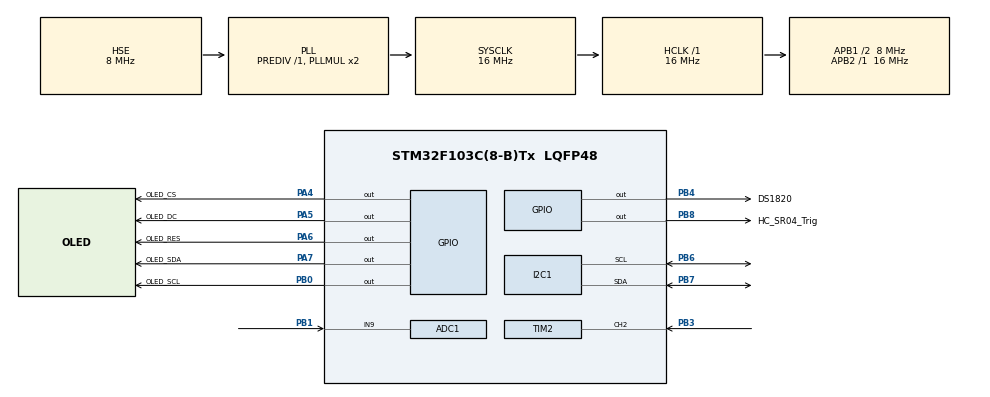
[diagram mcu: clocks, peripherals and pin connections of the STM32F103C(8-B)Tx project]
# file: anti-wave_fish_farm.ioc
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ADC1.Channel-0\#ChannelRegularConversion=ADC_CHANNEL_9
ADC1.NbrOfConversionFlag=1
ADC1.Rank-0\#ChannelRegularConversion=1
ADC1.SamplingTime-0\#ChannelRegularConversion=ADC_SAMPLETIME_1CYCLE_5
ADC1.master=1
Mcu.Family=STM32F1
Mcu.Name=STM32F103C(8-B)Tx
Mcu.Package=LQFP48
NVIC.PriorityGroup=NVIC_PRIORITYGROUP_4
NVIC.TIM2_IRQn=true\:0\:0\:false\:false\:true\:true\:true\:true
PA13.Mode=Serial_Wire
PA13.Signal=SYS_JTMS-SWDIO
PA14.Mode=Serial_Wire
PA14.Signal=SYS_JTCK-SWCLK
PA4.GPIO_Label=OLED_CS
PA4.GPIO_ModeDefaultOutputPP=GPIO_MODE_OUTPUT_PP
PA4.GPIO_PuPd=GPIO_PULLUP
PA4.GPIO_Speed=GPIO_SPEED_FREQ_HIGH
PA4.PinState=GPIO_PIN_SET
PA4.Signal=GPIO_Output
PA5.GPIO_Label=OLED_DC
PA5.GPIO_ModeDefaultOutputPP=GPIO_MODE_OUTPUT_PP
PA5.GPIO_PuPd=GPIO_PULLUP
PA5.GPIO_Speed=GPIO_SPEED_FREQ_HIGH
PA5.PinState=GPIO_PIN_SET
PA5.Signal=GPIO_Output
PA6.GPIO_Label=OLED_RES
PA6.GPIO_ModeDefaultOutputPP=GPIO_MODE_OUTPUT_PP
PA6.GPIO_PuPd=GPIO_PULLUP
PA6.GPIO_Speed=GPIO_SPEED_FREQ_HIGH
PA6.PinState=GPIO_PIN_SET
PA6.Signal=GPIO_Output
PA7.GPIO_Label=OLED_SDA
PA7.GPIO_ModeDefaultOutputPP=GPIO_MODE_OUTPUT_PP
PA7.GPIO_PuPd=GPIO_PULLUP
PA7.GPIO_Speed=GPIO_SPEED_FREQ_HIGH
PA7.PinState=GPIO_PIN_SET
PA7.Signal=GPIO_Output
PB0.GPIO_Label=OLED_SCL
PB0.GPIO_ModeDefaultOutputPP=GPIO_MODE_OUTPUT_PP
PB0.GPIO_PuPd=GPIO_PULLUP
PB0.GPIO_Speed=GPIO_SPEED_FREQ_HIGH
PB0.PinState=GPIO_PIN_SET
PB0.Signal=GPIO_Output
PB1.Signal=ADCx_IN9
PB3.Signal=S_TIM2_CH2
PB4.GPIO_Label=DS1820
PB4.GPIO_ModeDefaultOutputPP=GPIO_MODE_OUTPUT_PP
PB4.GPIO_PuPd=GPIO_PULLUP
PB4.GPIO_Speed=GPIO_SPEED_FREQ_HIGH
PB4.PinState=GPIO_PIN_SET
PB4.Signal=GPIO_Output
PB6.Mode=I2C
PB6.Signal=I2C1_SCL
PB7.Mode=I2C
PB7.Signal=I2C1_SDA
PB8.GPIO_Label=HC_SR04_Trig
PB8.GPIO_PuPd=GPIO_PULLUP
PB8.GPIO_Speed=GPIO_SPEED_FREQ_HIGH
PB8.Signal=GPIO_Output
PD0-OSC_IN.Mode=HSE-External-Oscillator
PD0-OSC_IN.Signal=RCC_OSC_IN
PD1-OSC_OUT.Mode=HSE-External-Oscillator
PD1-OSC_OUT.Signal=RCC_OSC_OUT
ProjectManager.HeapSize=0x200
ProjectManager.StackSize=0x400
ProjectManager.TargetToolchain=MDK-ARM V5.32
RCC.AHBFreq_Value=16000000
RCC.APB1CLKDivider=RCC_HCLK_DIV2
RCC.APB1Freq_Value=8000000
RCC.APB1TimFreq_Value=16000000
RCC.APB2Freq_Value=16000000
RCC.APB2TimFreq_Value=16000000
RCC.HCLKFreq_Value=16000000
RCC.PLLSourceVirtual=RCC_PLLSOURCE_HSE
RCC.SYSCLKFreq_VALUE=16000000
RCC.SYSCLKSource=RCC_SYSCLKSOURCE_PLLCLK
RCC.USBFreq_Value=16000000
SH.ADCx_IN9.0=ADC1_IN9,IN9
SH.S_TIM2_CH2.0=TIM2_CH2,Input_Capture2_from_TI2
TIM2.AutoReloadPreload=TIM_AUTORELOAD_PRELOAD_ENABLE
TIM2.Channel-Input_Capture2_from_TI2=TIM_CHANNEL_2
TIM2.Prescaler=71
board=custom

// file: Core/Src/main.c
/* USER CODE BEGIN Header */
/**
  ******************************************************************************
  * @file           : main.c
  * @brief          : Main program body
  ******************************************************************************
  * @attention
  *
  * Copyright (c) 2026 STMicroelectronics.
  * All rights reserved.
  *
  * This software is licensed under terms that can be found in the LICENSE file
  * in the root directory of this software component.
  * If no LICENSE file comes with this software, it is provided AS-IS.
  *
  ******************************************************************************
  */
/* USER CODE END Header */
#include "main.h"
#include "adc.h"
#include "i2c.h"
#include "tim.h"
#include "gpio.h"

/* USER CODE BEGIN Includes */
#include "oled.h"
#include "BH1750.h"
/* USER CODE END Includes */

void SystemClock_Config(void);

/* USER CODE BEGIN 0 */

// 微秒延时函数
void delay_us(uint32_t us)
{
    uint32_t delay = (HAL_RCC_GetHCLKFreq()/4000000*us);
    while(delay--);
}

// DS18B20相关函数
#define DS18B20_PIN DS1820_Pin
#define DS18B20_PORT DS1820_GPIO_Port

// 设置DS18B20引脚为输出
void DS18B20_SetOutput(void)
{
    GPIO_InitTypeDef GPIO_InitStruct = {0};
    GPIO_InitStruct.Pin = DS18B20_PIN;
    GPIO_InitStruct.Mode = GPIO_MODE_OUTPUT_PP;
    GPIO_InitStruct.Pull = GPIO_PULLUP;
    GPIO_InitStruct.Speed = GPIO_SPEED_FREQ_LOW;
    HAL_GPIO_Init(DS18B20_PORT, &GPIO_InitStruct);
}

// 设置DS18B20引脚为输入
void DS18B20_SetInput(void)
{
    GPIO_InitTypeDef GPIO_InitStruct = {0};
    GPIO_InitStruct.Pin = DS18B20_PIN;
    GPIO_InitStruct.Mode = GPIO_MODE_INPUT;
    GPIO_InitStruct.Pull = GPIO_PULLUP;
    HAL_GPIO_Init(DS18B20_PORT, &GPIO_InitStruct);
}

// 复位DS18B20
uint8_t DS18B20_Reset(void)
{
    uint8_t response = 0;

    DS18B20_SetOutput();
    HAL_GPIO_WritePin(DS18B20_PORT, DS18B20_PIN, GPIO_PIN_RESET);
    delay_us(750);
    HAL_GPIO_WritePin(DS18B20_PORT, DS18B20_PIN, GPIO_PIN_SET);
    delay_us(15);

    DS18B20_SetInput();
    response = HAL_GPIO_ReadPin(DS18B20_PORT, DS18B20_PIN);

    return response;
}

// 检查DS18B20是否存在
uint8_t DS18B20_Check(void)
{
    uint8_t pulse_time = 0;

    DS18B20_SetInput();

    // 等待DS18B20的低脉冲（60-240us）
    while (HAL_GPIO_ReadPin(DS18B20_PORT, DS18B20_PIN) && pulse_time < 100) {
        pulse_time++;
        delay_us(1);
    }

    if (pulse_time >= 100) {
        return 1; // 无响应
    }

    pulse_time = 0;

    // 等待低脉冲结束
    while (!HAL_GPIO_ReadPin(DS18B20_PORT, DS18B20_PIN) && pulse_time < 240) {
        pulse_time++;
        delay_us(1);
    }

    if (pulse_time >= 240) {
        return 1; // 无响应
    }

    return 0; // 正常
}

// 向DS18B20写1位
void DS18B20_WriteBit(uint8_t bit)
{
    DS18B20_SetOutput();

    if (bit) {
        // 写1
        HAL_GPIO_WritePin(DS18B20_PORT, DS18B20_PIN, GPIO_PIN_RESET);
        delay_us(9);
        HAL_GPIO_WritePin(DS18B20_PORT, DS18B20_PIN, GPIO_PIN_SET);
        delay_us(55);
    } else {
        // 写0
        HAL_GPIO_WritePin(DS18B20_PORT, DS18B20_PIN, GPIO_PIN_RESET);
        delay_us(70);
        HAL_GPIO_WritePin(DS18B20_PORT, DS18B20_PIN, GPIO_PIN_SET);
        delay_us(2);
    }
}

// 向DS18B20写1字节
void DS18B20_WriteByte(uint8_t byte)
{
    uint8_t i;
    for (i = 0; i < 8; i++) {
        DS18B20_WriteBit(byte & 0x01);
        byte >>= 1;
    }
}

// 从DS18B20读1位
uint8_t DS18B20_ReadBit(void)
{
    uint8_t bit = 0;

    DS18B20_SetOutput();
    HAL_GPIO_WritePin(DS18B20_PORT, DS18B20_PIN, GPIO_PIN_RESET);
    delay_us(10);

    DS18B20_SetInput();
    if (HAL_GPIO_ReadPin(DS18B20_PORT, DS18B20_PIN) == GPIO_PIN_SET) {
        bit = 1;
    } else {
        bit = 0;
    }

    delay_us(45);
    return bit;
}

// 从DS18B20读1字节
uint8_t DS18B20_ReadByte(void)
{
    uint8_t i, byte = 0;
    for (i = 0; i < 8; i++) {
        byte >>= 1;
        if (DS18B20_ReadBit()) {
            byte |= 0x80;
        }
    }
    return byte;
}

// 读取DS18B20温度
float DS18B20_ReadTemperature(void)
{
    uint8_t temp_l, temp_h;
    int16_t temp_raw;
    float temp = -999.9f;

    // 复位
    DS18B20_Reset();
    if (DS18B20_Check()) {
        return -999.9f; // 错误
    }

    // 跳过ROM
    DS18B20_WriteByte(0xCC);

    // 转换温度
    DS18B20_WriteByte(0x44);

    // 等待转换完成（最长800ms，12位分辨率）
    HAL_Delay(800); // 使用固定延时，更可靠

    // 复位
    DS18B20_Reset();
    if (DS18B20_Check()) {
        return -999.9f; // 错误
    }

    // 跳过ROM
    DS18B20_WriteByte(0xCC);

    // 读温度
    DS18B20_WriteByte(0xBE);

    // 读取温度低字节
    temp_l = DS18B20_ReadByte();

    // 读取温度高字节
    temp_h = DS18B20_ReadByte();

    // 组合温度数据
    temp_raw = (int16_t)((temp_h << 8) | temp_l);

    // 计算温度
    if (temp_raw < 0) {
        // 负温度
        temp = (float)(~temp_raw + 1) * 0.0625f;
    } else {
        // 正温度
        temp = (float)temp_raw * 0.0625f;
    }

    // 验证温度范围（DS18B20的有效范围：-55℃ to +125℃）
    if (temp < -55.0f || temp > 125.0f) {
        return -999.9f; // 错误
    }

    return temp;
}

// 初始化DS18B20
void DS18B20_Init(void)
{
    // 设置为输出模式
    DS18B20_SetOutput();
    HAL_GPIO_WritePin(DS18B20_PORT, DS18B20_PIN, GPIO_PIN_SET);

    // 复位测试
    DS18B20_Reset();
}

// 读取AZDM01混度传感器值
float AZDM01_ReadHumidity(void)
{
    float humidity = 0.0f;
    HAL_ADC_Start(&hadc1);
    if (HAL_ADC_PollForConversion(&hadc1, 100) == HAL_OK) {
        uint16_t adc_value = HAL_ADC_GetValue(&hadc1);
        // 根据AZDM01传感器的特性转换为湿度值
        // 假设传感器输出范围为0-3.3V，对应0-100%RH
        humidity = (float)adc_value / 4095.0f * 100.0f;
    }
    HAL_ADC_Stop(&hadc1);
    return humidity;
}

// HC-SR04超声波测距函数（使用GPIO轮询 + 简单计数）
float HCSR04_MeasureDistance(void)
{
    uint32_t start_time = 0;
    uint32_t end_time = 0;
    uint32_t pulse_width = 0;
    float distance = 0.0f;

    // 发送10us的触发脉冲
    HAL_GPIO_WritePin(HC_SR04_Trig_GPIO_Port, HC_SR04_Trig_Pin, GPIO_PIN_SET);
    delay_us(10);
    HAL_GPIO_WritePin(HC_SR04_Trig_GPIO_Port, HC_SR04_Trig_Pin, GPIO_PIN_RESET);

    // 等待Echo信号上升沿
    uint32_t timeout = 0;
    while (HAL_GPIO_ReadPin(GPIOB, GPIO_PIN_3) == GPIO_PIN_RESET) { // Echo连接到PB3
        timeout++;
        if (timeout > 1000000) { // 超时保护
            return -1.0f;
        }
    }

    // 记录起始时间（使用TIM2计数器）
    __HAL_TIM_SetCounter(&htim2, 0);
    HAL_TIM_Base_Start(&htim2);

    // 等待Echo信号下降沿
    timeout = 0;
    while (HAL_GPIO_ReadPin(GPIOB, GPIO_PIN_3) == GPIO_PIN_SET) { // Echo连接到PB3
        timeout++;
        if (timeout > 10000000) { // 超时保护
            HAL_TIM_Base_Stop(&htim2);
            return -1.0f;
        }
    }

    // 记录结束时间（使用TIM2计数器）
    pulse_width = __HAL_TIM_GetCounter(&htim2);
    HAL_TIM_Base_Stop(&htim2);

    // 计算距离：距离(cm) = 脉冲宽度(us) * 0.0343 / 2
    // TIM2的时钟频率是72MHz / 72 = 1MHz，所以1个计数单位 = 1us
    distance = (float)pulse_width * 0.0343f / 2.0f;

    // 限制距离范围（2cm-400cm）
    if (distance < 2.0f || distance > 400.0f) {
        return -1.0f;
    }

    return distance;
}

// 初始化测量状态
void HCSR04_Init(void)
{
    // 无需特殊初始化
}

/* USER CODE END 0 */

int main(void)
{

  /* MCU Configuration--------------------------------------------------------*/

  /* Reset of all peripherals, Initializes the Flash interface and the Systick. */
  HAL_Init();

  /* Configure the system clock */
  SystemClock_Config();

  /* Initialize all configured peripherals */
  MX_GPIO_Init();
  MX_I2C1_Init();
  MX_TIM2_Init();
  MX_ADC1_Init();
  /* USER CODE BEGIN 2 */
  OLED_Init();
  BH1750_Init();
  HCSR04_Init();
  DS18B20_Init();
  /* USER CODE END 2 */

  /* Infinite loop */
  /* USER CODE BEGIN WHILE */
  while (1)
  {
    // 读取光照数据
    float light_value = BH1750_ReadLight();

    // 读取超声波距离
    float distance = HCSR04_MeasureDistance();

    // 读取温度数据
    float temperature = DS18B20_ReadTemperature();

    // 读取混度数据
    float humidity = AZDM01_ReadHumidity();

    // 显示数据
    OLED_Clear();
    OLED_ShowString(0,0,(uint8_t*)"Lux:",8,1);
    oled_showFnum(30,0,light_value,8,1);

    OLED_ShowString(0,16,(uint8_t*)"Distance:",8,1);
    if (distance >= 0) {
        // 四舍五入到小数点后1位
        float rounded_distance = (float)((int)(distance * 10 + 0.5)) / 10;
        oled_showFnum(60,16,rounded_distance,8,1);
        OLED_ShowString(100,16,(uint8_t*)"cm",8,1);
    } else {
        OLED_ShowString(60,16,(uint8_t*)"Error",8,1);
    }

    OLED_ShowString(0,32,(uint8_t*)"Temp:",8,1);
    if (temperature != -999.9f) {
        // 四舍五入到小数点后1位
        float rounded_temp = (float)((int)(temperature * 10 + 0.5)) / 10;
        oled_showFnum(30,32,rounded_temp,8,1);
        OLED_ShowString(70,32,(uint8_t*)"C",8,1);
    } else {
        OLED_ShowString(30,32,(uint8_t*)"Error",8,1);
    }

    OLED_ShowString(0,48,(uint8_t*)"Humidity:",8,1);
    // 四舍五入到小数点后1位
    float rounded_humidity = (float)((int)(humidity * 10 + 0.5)) / 10;
    oled_showFnum(60,48,rounded_humidity,8,1);
    OLED_ShowString(100,48,(uint8_t*)"%",8,1);

    OLED_Refresh();
    HAL_Delay(500);
    /* USER CODE END WHILE */

  }
}

void SystemClock_Config(void)
{
  RCC_OscInitTypeDef RCC_OscInitStruct = {0};
  RCC_ClkInitTypeDef RCC_ClkInitStruct = {0};
  RCC_PeriphCLKInitTypeDef PeriphClkInit = {0};

  /** Initializes the RCC Oscillators according to the specified parameters
  * in the RCC_OscInitTypeDef structure.
  */
  RCC_OscInitStruct.OscillatorType = RCC_OSCILLATORTYPE_HSE;
  RCC_OscInitStruct.HSEState = RCC_HSE_ON;
  RCC_OscInitStruct.HSEPredivValue = RCC_HSE_PREDIV_DIV1;
  RCC_OscInitStruct.HSIState = RCC_HSI_ON;
  RCC_OscInitStruct.PLL.PLLState = RCC_PLL_ON;
  RCC_OscInitStruct.PLL.PLLSource = RCC_PLLSOURCE_HSE;
  RCC_OscInitStruct.PLL.PLLMUL = RCC_PLL_MUL2;
  if (HAL_RCC_OscConfig(&RCC_OscInitStruct) != HAL_OK)
  {
    Error_Handler();
  }

  /** Initializes the CPU, AHB and APB buses clocks
  */
  RCC_ClkInitStruct.ClockType = RCC_CLOCKTYPE_HCLK|RCC_CLOCKTYPE_SYSCLK
                              |RCC_CLOCKTYPE_PCLK1|RCC_CLOCKTYPE_PCLK2;
  RCC_ClkInitStruct.SYSCLKSource = RCC_SYSCLKSOURCE_PLLCLK;
  RCC_ClkInitStruct.AHBCLKDivider = RCC_SYSCLK_DIV1;
  RCC_ClkInitStruct.APB1CLKDivider = RCC_HCLK_DIV2;
  RCC_ClkInitStruct.APB2CLKDivider = RCC_HCLK_DIV1;

  if (HAL_RCC_ClockConfig(&RCC_ClkInitStruct, FLASH_LATENCY_0) != HAL_OK)
  {
    Error_Handler();
  }
  PeriphClkInit.PeriphClockSelection = RCC_PERIPHCLK_ADC;
  PeriphClkInit.AdcClockSelection = RCC_ADCPCLK2_DIV2;
  if (HAL_RCCEx_PeriphCLKConfig(&PeriphClkInit) != HAL_OK)
  {
    Error_Handler();
  }
}

void Error_Handler(void)
{
  __disable_irq();
  while (1)
  {
  }
}
